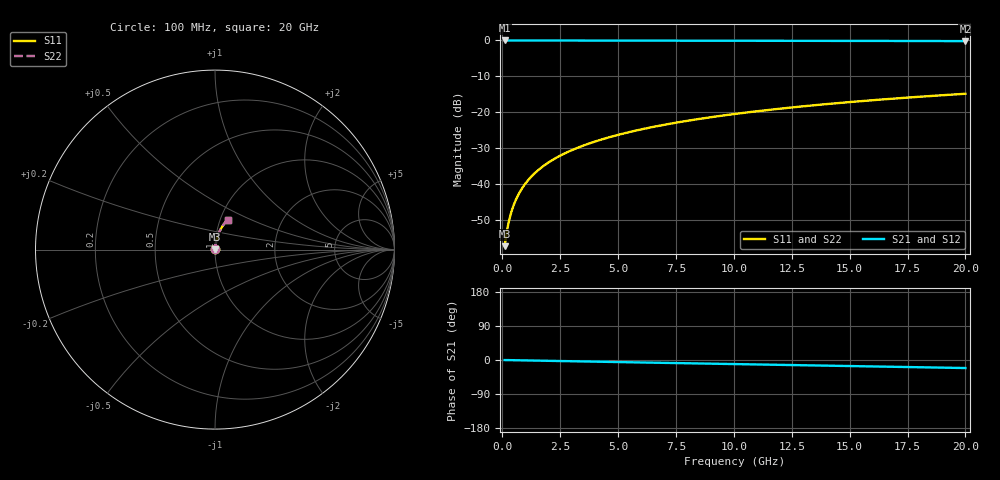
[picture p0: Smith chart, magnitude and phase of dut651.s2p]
! Touchstone file exported from HFSS 2026.1.0
!  File:  C:/ffzhzh/LocalFiles/Ansys_Project_Files/temp_train_TMRDL_651_1783009548_46388.aedt
!  Generated:  12:27:07 AM Jul  3, 2026
!  Design:  TMRDL
!  Project:  temp_train_TMRDL_651_1783009548_46388
! Variables:
!  h_bsmrdl = 2um
!  h_ox = 20um
!  h_rdl = 5um
!  h_sub = 80um
!  h_tmrdl = 5.78um
!  h_tsv = 80um
!  h_via = 3um
!  l_bsmrdl = 300um
!  l_sub = 694.16um
!  l_tmrdl = 294.16um
!  m_sub = 200um
!  pitch = 54.45um
!  r_tsv = 6um
!  s_tmrdl = 10um
!  w_bsmrdl = 18um
!  w_sub = 500um
!  w_tmrdl = 28.77um
!  x_tsv_center1 = 308.545um
!  x_tsv_center2 = 626.545um
!  x_tsv_center3 = 949.475um
!  x_tsv_center4 = 1267.475um
!  x_tsv_center5 = 1590.405um
!  x_tsv_center6 = 1908.405um
# GHz S MA R 50.000000
! Terminal data exported
! Port[1] = TM_RDL1_1_T1
! Port[2] = TM_RDL1_1_T2
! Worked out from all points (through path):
!   200 points, 100 MHz to 20 GHz, reference 50 ohm
!   highest |S21| = -0.01 dB at 100 MHz (marker M1); lowest = -0.2 dB at 20 GHz (marker M2)
!   group delay of S21, straight-line fit = 2.94 ps
!   lowest |S11| = -57.4 dB at 100 MHz (marker M3), VSWR 1.00, Z = 50.1 + j0.109 ohm
!   |S11| at or under -10 dB: start of sweep to end of sweep
!   |S22| runs from -57.4 to -14.9 dB; largest |S21 - S12| = 8.8e-15
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0.1  0.001354 53.7  0.9992 -0.1  0.9992 -0.1  0.001354 53.7
! Gamma 0 0 0 0
! Port Impedance 50 0 50 0
0.2  0.002215 68.5  0.9991 -0.2  0.9991 -0.2  0.002215 68.5
0.3  0.003168 74.8  0.9991 -0.3  0.9991 -0.3  0.003168 74.8
0.4  0.004149 78.0  0.999 -0.5  0.999 -0.5  0.004149 78.0
0.5  0.00514 80.0  0.999 -0.6  0.999 -0.6  0.00514 80.0
0.7  0.007132 82.0  0.9989 -0.8  0.9989 -0.8  0.007133 82.0
0.8  0.008129 82.6  0.9989 -0.9  0.9989 -0.9  0.00813 82.6
1  0.01012 83.3  0.9988 -1.1  0.9988 -1.1  0.01012 83.3
1.2  0.0121 83.7  0.9987 -1.3  0.9987 -1.3  0.0121 83.7
1.4  0.01407 83.8  0.9987 -1.5  0.9987 -1.5  0.01407 83.8
1.7  0.01701 83.9  0.9985 -1.9  0.9985 -1.9  0.01701 83.9
2  0.01993 83.8  0.9984 -2.2  0.9984 -2.2  0.01993 83.8
2.7  0.02665 83.4  0.9979 -3.0  0.9979 -3.0  0.02665 83.4
3.5  0.03422 82.8  0.9974 -3.8  0.9974 -3.8  0.03422 82.8
4.2  0.04079 82.2  0.9969 -4.6  0.9969 -4.6  0.04079 82.2
5  0.04824 81.6  0.9963 -5.4  0.9963 -5.4  0.04824 81.6
6.8  0.06488 80.0  0.9949 -7.4  0.9949 -7.4  0.06488 80.0
8.3  0.07861 78.6  0.9936 -9.0  0.9936 -9.0  0.07861 78.6
10.1  0.09491 76.9  0.9918 -10.9  0.9918 -10.9  0.09491 76.9
13.4  0.1243 73.7  0.988 -14.3  0.988 -14.3  0.1243 73.7
16.7  0.1528 70.5  0.9836 -17.8  0.9836 -17.8  0.1528 70.5
20  0.1805 67.2  0.9785 -21.2  0.9785 -21.2  0.1805 67.2
